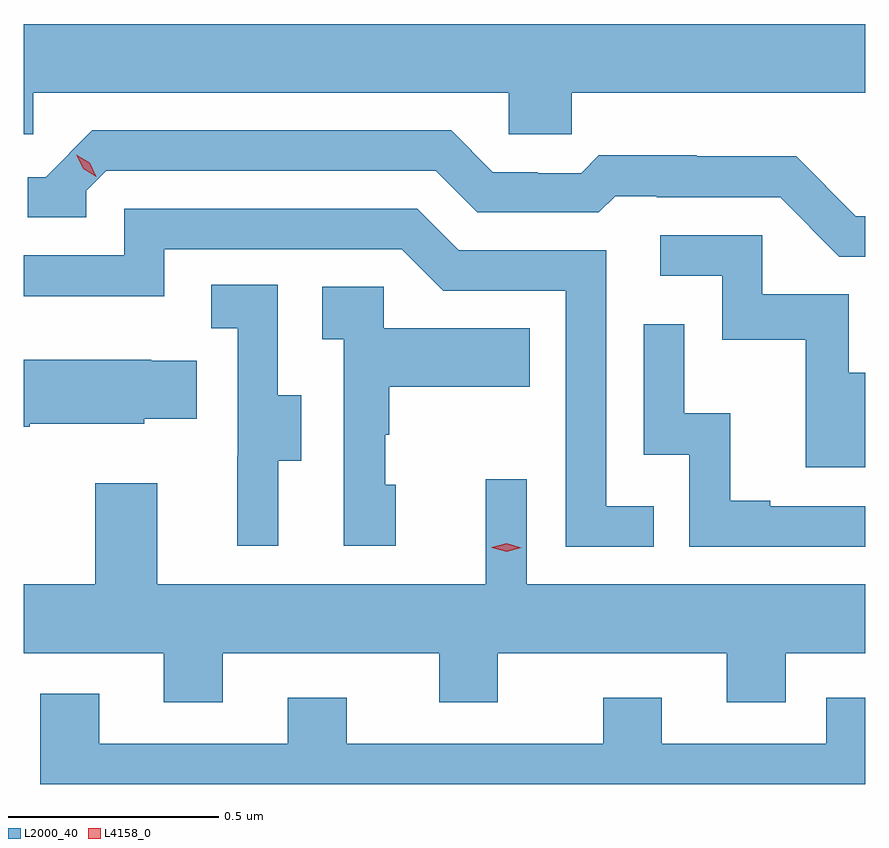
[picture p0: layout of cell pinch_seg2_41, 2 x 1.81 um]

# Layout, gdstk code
import gdstk
lib = gdstk.Library(unit=1e-6, precision=1e-09)
def P(c, l, *ps):  # polygons
    for p in ps: c.add(gdstk.Polygon(p, *l))
L2000_40 = (2000, 40)
L4158_0 = (4158, 0)

pinch_seg2_41 = lib.new_cell('pinch_seg2_41')
P(pinch_seg2_41, L2000_40, [(1128.492,652.964),(1129.623,652.964),(1129.623,652.866),(1129.773,652.866),(1129.773,652.964),(1130.47,652.964),(1130.47,653.128),(1128.47,653.128),(1128.47,652.866),(1128.492,652.866)],
  [(1130.47,652.671),(1130.448,652.671),(1130.306,652.813),(1130.07,652.813),(1130.07,652.816),(1129.837,652.816),(1129.795,652.773),(1129.692,652.773),(1129.692,652.776),(1129.585,652.776),(1129.486,652.875),(1128.633,652.875),(1128.522,652.764),(1128.479,652.764),(1128.479,652.668),(1128.618,652.668),(1128.618,652.731),(1128.666,652.779),(1129.449,652.779),(1129.548,652.68),(1129.837,652.68),(1129.876,652.719),(1129.975,652.719),(1129.975,652.716),(1130.268,652.716),(1130.409,652.575),(1130.47,652.575)],
  [(1129.967,651.981),(1129.854,651.981),(1129.854,652.59),(1129.504,652.59),(1129.405,652.689),(1128.708,652.689),(1128.708,652.578),(1128.47,652.578),(1128.47,652.481),(1128.804,652.481),(1128.804,652.593),(1129.368,652.593),(1129.467,652.494),(1129.758,652.494),(1129.758,651.885),(1129.967,651.885)],
  [(1130.47,652.299),(1130.431,652.299),(1130.431,652.485),(1130.226,652.485),(1130.226,652.626),(1129.983,652.626),(1129.983,652.53),(1130.13,652.53),(1130.13,652.377),(1130.329,652.377),(1130.329,652.074),(1130.47,652.074)],
  [(1129.075,652.09),(1129.129,652.09),(1129.129,652.245),(1129.074,652.245),(1129.074,652.508),(1128.915,652.508),(1128.915,652.405),(1128.978,652.405),(1128.978,652.101),(1128.977,652.101),(1128.977,651.888),(1129.075,651.888)],
  [(1129.354,652.032),(1129.329,652.032),(1129.329,652.151),(1129.339,652.151),(1129.339,652.265),(1129.673,652.265),(1129.673,652.405),(1129.326,652.405),(1129.326,652.503),(1129.179,652.503),(1129.179,652.379),(1129.23,652.379),(1129.23,651.888),(1129.354,651.888)],
  [(1130.47,651.981),(1130.245,651.981),(1130.245,651.994),(1130.15,651.994),(1130.15,652.202),(1130.04,652.202),(1130.04,652.414),(1129.944,652.414),(1129.944,652.104),(1130.052,652.104),(1130.052,651.885),(1130.47,651.885)],
  [(1128.484,652.178),(1128.756,652.178),(1128.756,652.19),(1128.881,652.19),(1128.881,652.327),(1128.773,652.327),(1128.773,652.33),(1128.47,652.33),(1128.47,652.171),(1128.484,652.171)],
  [(1128.943,651.632),(1129.457,651.632),(1129.457,651.515),(1129.597,651.515),(1129.597,651.632),(1130.141,651.632),(1130.141,651.515),(1130.281,651.515),(1130.281,651.632),(1130.47,651.632),(1130.47,651.796),(1129.665,651.796),(1129.665,652.045),(1129.568,652.045),(1129.568,651.796),(1128.787,651.796),(1128.787,652.036),(1128.64,652.036),(1128.64,651.796),(1128.47,651.796),(1128.47,651.632),(1128.803,651.632),(1128.803,651.515),(1128.943,651.515)],
  [(1130.47,651.526),(1130.378,651.526),(1130.378,651.417),(1129.987,651.417),(1129.987,651.526),(1129.847,651.526),(1129.847,651.417),(1129.237,651.417),(1129.237,651.526),(1129.097,651.526),(1129.097,651.417),(1128.649,651.417),(1128.649,651.535),(1128.509,651.535),(1128.509,651.321),(1130.47,651.321)])
P(pinch_seg2_41, L4158_0, [(1128.642,652.765),(1128.611,652.784),(1128.595,652.817),(1128.595,652.817),(1128.595,652.817),(1128.626,652.798),(1128.642,652.765),(1128.642,652.765)],
  [(1129.618,651.873),(1129.582,651.883),(1129.582,651.884),(1129.582,651.884),(1129.618,651.893),(1129.653,651.883),(1129.654,651.883),(1129.653,651.883)])

lib.write_gds('pinch_seg2_41.gds')
